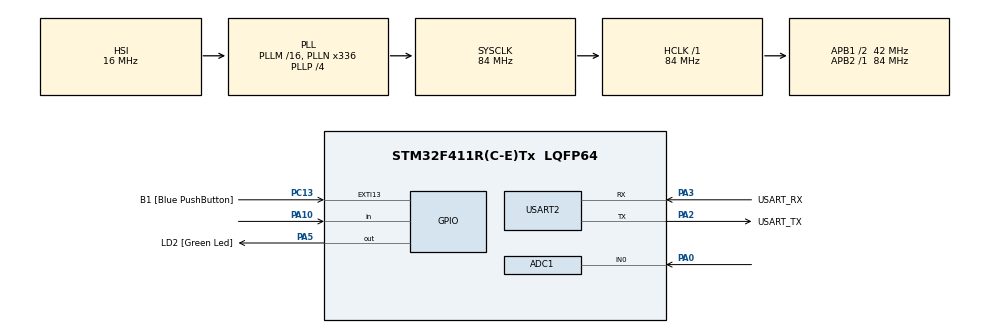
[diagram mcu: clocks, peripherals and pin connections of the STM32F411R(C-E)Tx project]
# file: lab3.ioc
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ADC1.Channel-0\#ChannelRegularConversion=ADC_CHANNEL_0
ADC1.NbrOfConversionFlag=1
ADC1.Rank-0\#ChannelRegularConversion=1
ADC1.SamplingTime-0\#ChannelRegularConversion=ADC_SAMPLETIME_3CYCLES
ADC1.master=1
Mcu.Family=STM32F4
Mcu.Name=STM32F411R(C-E)Tx
Mcu.Package=LQFP64
NVIC.PriorityGroup=NVIC_PRIORITYGROUP_0
PA0-WKUP.Signal=ADCx_IN0
PA10.Signal=GPIO_Input
PA13.GPIO_Label=TMS
PA13.Mode=Serial_Wire
PA13.Signal=SYS_JTMS-SWDIO
PA14.GPIO_Label=TCK
PA14.Mode=Serial_Wire
PA14.Signal=SYS_JTCK-SWCLK
PA2.GPIO_Label=USART_TX
PA2.Mode=Asynchronous
PA2.Signal=USART2_TX
PA3.GPIO_Label=USART_RX
PA3.Mode=Asynchronous
PA3.Signal=USART2_RX
PA5.GPIO_Label=LD2 [Green Led]
PA5.Signal=GPIO_Output
PB3.GPIO_Label=SWO
PB3.Signal=SYS_JTDO-SWO
PC13-ANTI_TAMP.GPIO_Label=B1 [Blue PushButton]
PC13-ANTI_TAMP.GPIO_ModeDefaultEXTI=GPIO_MODE_IT_FALLING
PC13-ANTI_TAMP.Signal=GPXTI13
PC14-OSC32_IN.Mode=LSE-External-Oscillator
PC14-OSC32_IN.Signal=RCC_OSC32_IN
PC15-OSC32_OUT.Mode=LSE-External-Oscillator
PC15-OSC32_OUT.Signal=RCC_OSC32_OUT
PH0\ -\ OSC_IN.Mode=HSE-External-Clock-Source
PH0\ -\ OSC_IN.Signal=RCC_OSC_IN
PH1\ -\ OSC_OUT.Mode=HSE-External-Clock-Source
PH1\ -\ OSC_OUT.Signal=RCC_OSC_OUT
ProjectManager.HeapSize=0x200
ProjectManager.StackSize=0x400
ProjectManager.TargetToolchain=STM32CubeIDE
RCC.48MHZClocksFreq_Value=84000000
RCC.AHBFreq_Value=84000000
RCC.APB1CLKDivider=RCC_HCLK_DIV2
RCC.APB1Freq_Value=42000000
RCC.APB1TimFreq_Value=84000000
RCC.APB2Freq_Value=84000000
RCC.APB2TimFreq_Value=84000000
RCC.CortexFreq_Value=84000000
RCC.FLatency-AdvancedSettings=FLASH_LATENCY_2
RCC.HCLKFreq_Value=84000000
RCC.HSE_VALUE=8000000
RCC.HSI_VALUE=16000000
RCC.PLLN=336
RCC.PLLP=RCC_PLLP_DIV4
RCC.SYSCLKFreq_VALUE=84000000
RCC.SYSCLKSource=RCC_SYSCLKSOURCE_PLLCLK
RCC.VCOOutputFreq_Value=336000000
SH.ADCx_IN0.0=ADC1_IN0,IN0
USART2.VirtualMode=VM_ASYNC
VP_ADC1_TempSens_Input.Mode=IN-TempSens
board=NUCLEO-F411RE

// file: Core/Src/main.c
/* USER CODE BEGIN Header */
/**
  ******************************************************************************
  * @file           : main.c
  * @brief          : Main program body
  ******************************************************************************
  * @attention
  *
  * <h2><center>&copy; Copyright (c) 2021 STMicroelectronics.
  * All rights reserved.</center></h2>
  *
  * This software component is licensed by ST under BSD 3-Clause license,
  * the "License"; You may not use this file except in compliance with the
  * License. You may obtain a copy of the License at:
  *                        opensource.org/licenses/BSD-3-Clause
  *
  ******************************************************************************
  */
/* USER CODE END Header */
#include "main.h"

ADC_HandleTypeDef hadc1;

UART_HandleTypeDef huart2;

/* USER CODE BEGIN PV */
typedef struct {
	ADC_ChannelConfTypeDef Config;
	uint32_t Data;
} ADCStructure;

ADCStructure ADCChannel[2] = { 0 };
GPIO_PinState SwitchState[2];
	uint32_t ButtonTimeStamp = 0;
	uint8_t count = 0;
	uint8_t ADCMode = 0;
	float ADCOutputConverted = 0;
/* USER CODE END PV */

void SystemClock_Config(void);
static void MX_GPIO_Init(void);
static void MX_USART2_UART_Init(void);
static void MX_ADC1_Init(void);

int main(void)
{

  /* MCU Configuration--------------------------------------------------------*/

  /* Reset of all peripherals, Initializes the Flash interface and the Systick. */
  HAL_Init();

  /* Configure the system clock */
  SystemClock_Config();

  /* Initialize all configured peripherals */
  MX_GPIO_Init();
  MX_USART2_UART_Init();
  MX_ADC1_Init();
  /* USER CODE BEGIN 2 */
  ADCPokkingMethodInit();
  /* USER CODE END 2 */

  /* Infinite loop */
  /* USER CODE BEGIN WHILE */
  while (1)
  {
		ADCPollingMethodUpdate();
			ADCMode1();
    /* USER CODE END WHILE */

  }
}

void SystemClock_Config(void)
{
  RCC_OscInitTypeDef RCC_OscInitStruct = {0};
  RCC_ClkInitTypeDef RCC_ClkInitStruct = {0};

  /** Configure the main internal regulator output voltage
  */
  __HAL_RCC_PWR_CLK_ENABLE();
  __HAL_PWR_VOLTAGESCALING_CONFIG(PWR_REGULATOR_VOLTAGE_SCALE1);
  /** Initializes the RCC Oscillators according to the specified parameters
  * in the RCC_OscInitTypeDef structure.
  */
  RCC_OscInitStruct.OscillatorType = RCC_OSCILLATORTYPE_HSI;
  RCC_OscInitStruct.HSIState = RCC_HSI_ON;
  RCC_OscInitStruct.HSICalibrationValue = RCC_HSICALIBRATION_DEFAULT;
  RCC_OscInitStruct.PLL.PLLState = RCC_PLL_ON;
  RCC_OscInitStruct.PLL.PLLSource = RCC_PLLSOURCE_HSI;
  RCC_OscInitStruct.PLL.PLLM = 16;
  RCC_OscInitStruct.PLL.PLLN = 336;
  RCC_OscInitStruct.PLL.PLLP = RCC_PLLP_DIV4;
  RCC_OscInitStruct.PLL.PLLQ = 4;
  if (HAL_RCC_OscConfig(&RCC_OscInitStruct) != HAL_OK)
  {
    Error_Handler();
  }
  /** Initializes the CPU, AHB and APB buses clocks
  */
  RCC_ClkInitStruct.ClockType = RCC_CLOCKTYPE_HCLK|RCC_CLOCKTYPE_SYSCLK
                              |RCC_CLOCKTYPE_PCLK1|RCC_CLOCKTYPE_PCLK2;
  RCC_ClkInitStruct.SYSCLKSource = RCC_SYSCLKSOURCE_PLLCLK;
  RCC_ClkInitStruct.AHBCLKDivider = RCC_SYSCLK_DIV1;
  RCC_ClkInitStruct.APB1CLKDivider = RCC_HCLK_DIV2;
  RCC_ClkInitStruct.APB2CLKDivider = RCC_HCLK_DIV1;

  if (HAL_RCC_ClockConfig(&RCC_ClkInitStruct, FLASH_LATENCY_2) != HAL_OK)
  {
    Error_Handler();
  }
}

static void MX_ADC1_Init(void)
{

  ADC_ChannelConfTypeDef sConfig = {0};

  /** Configure the global features of the ADC (Clock, Resolution, Data Alignment and number of conversion)
  */
  hadc1.Instance = ADC1;
  hadc1.Init.ClockPrescaler = ADC_CLOCK_SYNC_PCLK_DIV4;
  hadc1.Init.Resolution = ADC_RESOLUTION_12B;
  hadc1.Init.ScanConvMode = DISABLE;
  hadc1.Init.ContinuousConvMode = DISABLE;
  hadc1.Init.DiscontinuousConvMode = DISABLE;
  hadc1.Init.ExternalTrigConvEdge = ADC_EXTERNALTRIGCONVEDGE_NONE;
  hadc1.Init.ExternalTrigConv = ADC_SOFTWARE_START;
  hadc1.Init.DataAlign = ADC_DATAALIGN_RIGHT;
  hadc1.Init.NbrOfConversion = 1;
  hadc1.Init.DMAContinuousRequests = DISABLE;
  hadc1.Init.EOCSelection = ADC_EOC_SINGLE_CONV;
  if (HAL_ADC_Init(&hadc1) != HAL_OK)
  {
    Error_Handler();
  }
  /** Configure for the selected ADC regular channel its corresponding rank in the sequencer and its sample time.
  */
  sConfig.Channel = ADC_CHANNEL_0;
  sConfig.Rank = 1;
  sConfig.SamplingTime = ADC_SAMPLETIME_3CYCLES;
  if (HAL_ADC_ConfigChannel(&hadc1, &sConfig) != HAL_OK)
  {
    Error_Handler();
  }

}

static void MX_USART2_UART_Init(void)
{

  huart2.Instance = USART2;
  huart2.Init.BaudRate = 115200;
  huart2.Init.WordLength = UART_WORDLENGTH_8B;
  huart2.Init.StopBits = UART_STOPBITS_1;
  huart2.Init.Parity = UART_PARITY_NONE;
  huart2.Init.Mode = UART_MODE_TX_RX;
  huart2.Init.HwFlowCtl = UART_HWCONTROL_NONE;
  huart2.Init.OverSampling = UART_OVERSAMPLING_16;
  if (HAL_UART_Init(&huart2) != HAL_OK)
  {
    Error_Handler();
  }

}

static void MX_GPIO_Init(void)
{
  GPIO_InitTypeDef GPIO_InitStruct = {0};

  /* GPIO Ports Clock Enable */
  __HAL_RCC_GPIOC_CLK_ENABLE();
  __HAL_RCC_GPIOH_CLK_ENABLE();
  __HAL_RCC_GPIOA_CLK_ENABLE();
  __HAL_RCC_GPIOB_CLK_ENABLE();

  /*Configure GPIO pin Output Level */
  HAL_GPIO_WritePin(LD2_GPIO_Port, LD2_Pin, GPIO_PIN_RESET);

  /*Configure GPIO pin : B1_Pin */
  GPIO_InitStruct.Pin = B1_Pin;
  GPIO_InitStruct.Mode = GPIO_MODE_IT_FALLING;
  GPIO_InitStruct.Pull = GPIO_NOPULL;
  HAL_GPIO_Init(B1_GPIO_Port, &GPIO_InitStruct);

  /*Configure GPIO pin : LD2_Pin */
  GPIO_InitStruct.Pin = LD2_Pin;
  GPIO_InitStruct.Mode = GPIO_MODE_OUTPUT_PP;
  GPIO_InitStruct.Pull = GPIO_NOPULL;
  GPIO_InitStruct.Speed = GPIO_SPEED_FREQ_LOW;
  HAL_GPIO_Init(LD2_GPIO_Port, &GPIO_InitStruct);

  /*Configure GPIO pin : PA10 */
  GPIO_InitStruct.Pin = GPIO_PIN_10;
  GPIO_InitStruct.Mode = GPIO_MODE_INPUT;
  GPIO_InitStruct.Pull = GPIO_NOPULL;
  HAL_GPIO_Init(GPIOA, &GPIO_InitStruct);

}

/* USER CODE BEGIN 4 */
void ADCPokkingMethodInit() {
//PA0 - ADC IN0
ADCChannel[0].Config.Channel = ADC_CHANNEL_0;
ADCChannel[0].Config.Rank = 1;
ADCChannel[0].Config.SamplingTime = ADC_SAMPLETIME_3CYCLES;

//PA1 - ADC IN1
ADCChannel[1].Config.Channel =ADC_CHANNEL_TEMPSENSOR;
ADCChannel[1].Config.Rank = 1;
ADCChannel[1].Config.SamplingTime = ADC_SAMPLETIME_3CYCLES;

}

void ADCPollingMethodUpdate() {

for (int i = 0; i < 2; i++) {
	HAL_ADC_ConfigChannel(&hadc1, &ADCChannel[i].Config);
	HAL_ADC_Start(&hadc1); //Sampling
	if (HAL_ADC_PollForConversion(&hadc1, 10) == HAL_OK) //wait
			{
		ADCChannel[i].Data = HAL_ADC_GetValue(&hadc1); // get Value
	}
	HAL_ADC_Stop(&hadc1); //Stop
}

}

void ADCMode1() {
if (HAL_GetTick() - ButtonTimeStamp >= 100) {
	ButtonTimeStamp = HAL_GetTick();
	SwitchState[0] = HAL_GPIO_ReadPin(GPIOA, GPIO_PIN_10);
	if (SwitchState[1] == GPIO_PIN_SET && SwitchState[0] == GPIO_PIN_RESET) {
		count += 1;
		ADCMode = count % 2;
	}

}
switch (ADCMode) {
case (0):
	ADCOutputConverted = (3.3 * ADCChannel[0].Data / 4096) * 1000;
	break;

case (1):

	ADCOutputConverted = (((3.3 * ADCChannel[1].Data / 4096) - 0.76) / 0.0025) + 25;
	break;

}
SwitchState[1]=SwitchState[0];
}
/* USER CODE END 4 */

void Error_Handler(void)
{
  __disable_irq();
  while (1)
  {
  }
}

/************************ (C) COPYRIGHT STMicroelectronics *****END OF FILE****/
